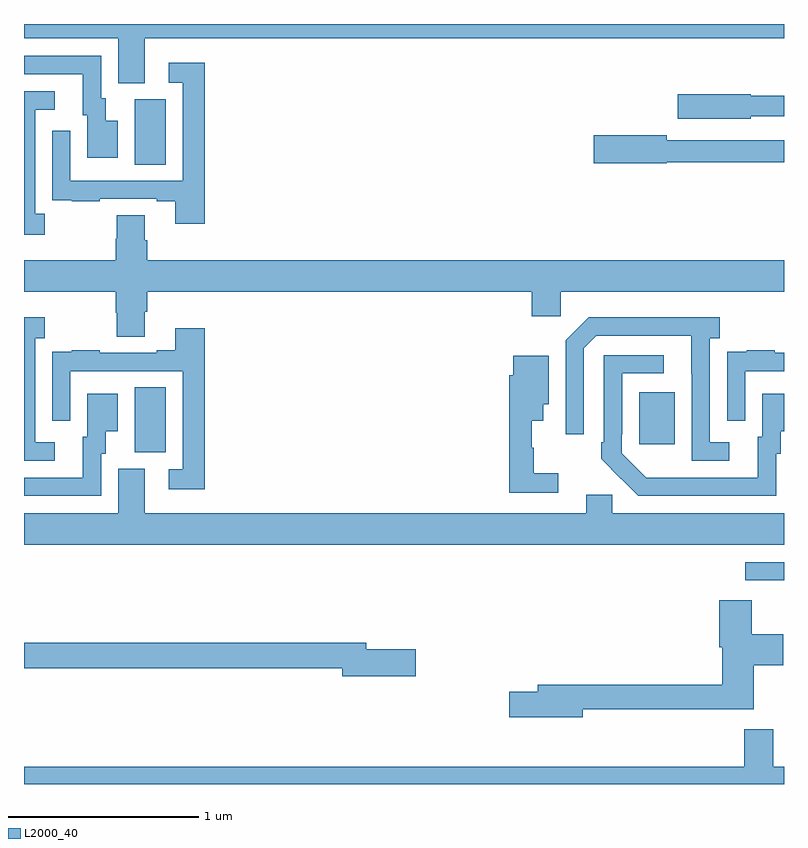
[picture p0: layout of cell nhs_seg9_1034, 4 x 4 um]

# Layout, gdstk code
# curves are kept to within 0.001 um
import gdstk
lib = gdstk.Library(unit=1e-6, precision=1e-09)
def R(c, l, rs):  # rectangles x0, y0, x1, y1
    for r in rs: c.add(gdstk.rectangle(r[:2], r[2:], *l))
def P(c, l, *ps):  # polygons
    for p in ps: c.add(gdstk.Polygon(p, *l))
L2000_40 = (2000, 40)

nhs_seg9_1034 = lib.new_cell('nhs_seg9_1034')
R(nhs_seg9_1034, L2000_40, [(170.796,1189.572,171,1189.668), (167.582,1190.245,167.746,1190.588), (170.237,1190.289,170.425,1190.563), (167.582,1191.76,167.746,1192.104)])
P(nhs_seg9_1034, L2000_40, [(167,1192.424),(167.495,1192.424),(167.495,1192.189),(167.635,1192.189),(167.635,1192.424),(171,1192.424),(171,1192.5),(167,1192.5)],
  [(167.494,1191.991),(167.431,1191.991),(167.431,1192.11),(167.406,1192.11),(167.406,1192.332),(167,1192.332),(167,1192.236),(167.309,1192.236),(167.309,1192.02),(167.333,1192.02),(167.333,1191.795),(167.494,1191.795)],
  [(167.951,1192.297),(167.763,1192.297),(167.763,1192.191),(167.835,1192.191),(167.835,1191.675),(167.244,1191.675),(167.244,1191.937),(167.148,1191.937),(167.148,1191.682),(167.149,1191.682),(167.149,1191.573),(167.251,1191.573),(167.251,1191.567),(167.399,1191.567),(167.399,1191.579),(167.699,1191.579),(167.699,1191.567),(167.795,1191.567),(167.795,1191.45),(167.951,1191.45)],
  [(167.11,1191.502),(167.058,1191.502),(167.058,1192.05),(167.161,1192.05),(167.161,1192.146),(167,1192.146),(167,1191.392),(167.11,1191.392)],
  [(170.826,1192.014),(171,1192.014),(171,1192.123),(170.826,1192.123),(170.826,1192.131),(170.442,1192.131),(170.442,1192.001),(170.826,1192.001)],
  [(170.382,1191.772),(171,1191.772),(171,1191.888),(170.382,1191.888),(170.382,1191.914),(169.998,1191.914),(169.998,1191.767),(170.382,1191.767)],
  [(167.635,1190.986),(167.648,1190.986),(167.648,1191.092),(169.673,1191.092),(169.673,1190.961),(169.824,1190.961),(169.824,1191.092),(171,1191.092),(171,1191.256),(167.648,1191.256),(167.648,1191.362),(167.635,1191.362),(167.635,1191.494),(167.488,1191.494),(167.488,1191.369),(167.483,1191.369),(167.483,1191.256),(167,1191.256),(167,1191.092),(167.483,1191.092),(167.483,1190.979),(167.488,1190.979),(167.488,1190.854),(167.635,1190.854)],
  [(167.161,1190.298),(167.058,1190.298),(167.058,1190.846),(167.11,1190.846),(167.11,1190.956),(167,1190.956),(167,1190.202),(167.161,1190.202)],
  [(170.713,1190.298),(170.61,1190.298),(170.61,1190.846),(170.662,1190.846),(170.662,1190.956),(169.972,1190.956),(169.851,1190.835),(169.851,1190.34),(169.947,1190.34),(169.947,1190.793),(170.013,1190.859),(170.513,1190.859),(170.514,1190.202),(170.713,1190.202)],
  [(167.951,1190.899),(167.795,1190.899),(167.795,1190.782),(167.699,1190.782),(167.699,1190.769),(167.399,1190.769),(167.399,1190.782),(167.251,1190.782),(167.251,1190.775),(167.149,1190.775),(167.149,1190.666),(167.148,1190.666),(167.148,1190.412),(167.244,1190.412),(167.244,1190.673),(167.835,1190.673),(167.835,1190.157),(167.763,1190.157),(167.763,1190.052),(167.951,1190.052)],
  [(170.796,1190.673),(171,1190.673),(171,1190.769),(170.951,1190.769),(170.951,1190.782),(170.803,1190.782),(170.803,1190.775),(170.701,1190.775),(170.701,1190.666),(170.7,1190.666),(170.7,1190.412),(170.796,1190.412)],
  [(170.958,1190.238),(170.983,1190.238),(170.983,1190.357),(171,1190.357),(171,1190.554),(170.885,1190.554),(170.885,1190.328),(170.861,1190.328),(170.861,1190.112),(170.274,1190.113),(170.145,1190.241),(170.145,1190.341),(170.148,1190.341),(170.148,1190.661),(170.368,1190.661),(170.368,1190.757),(170.052,1190.757),(170.052,1190.299),(170.037,1190.299),(170.037,1190.211),(170.234,1190.016),(170.958,1190.016)],
  [(169.813,1190.135),(169.684,1190.135),(169.684,1190.271),(169.673,1190.271),(169.673,1190.411),(169.732,1190.411),(169.732,1190.498),(169.762,1190.498),(169.762,1190.755),(169.574,1190.755),(169.574,1190.651),(169.555,1190.651),(169.555,1190.034),(169.813,1190.034)],
  [(167.406,1190.238),(167.431,1190.238),(167.431,1190.357),(167.494,1190.357),(167.494,1190.554),(167.333,1190.554),(167.333,1190.328),(167.309,1190.328),(167.309,1190.112),(167,1190.112),(167,1190.016),(167.406,1190.016)],
  [(171,1189.924),(170.097,1189.924),(170.097,1190.022),(169.958,1190.022),(169.958,1189.924),(167.635,1189.924),(167.635,1190.16),(167.495,1190.16),(167.495,1189.924),(167,1189.924),(167,1189.76),(171,1189.76)],
  [(169.942,1188.894),(170.842,1188.894),(170.842,1189.126),(170.995,1189.126),(170.995,1189.288),(170.83,1189.288),(170.83,1189.468),(170.66,1189.468),(170.66,1189.219),(170.675,1189.219),(170.675,1189.022),(169.703,1189.022),(169.703,1188.986),(169.554,1188.986),(169.554,1188.851),(169.942,1188.851)],
  [(169.063,1189.208),(168.802,1189.208),(168.802,1189.244),(167,1189.244),(167,1189.108),(168.674,1189.108),(168.674,1189.066),(169.063,1189.066)],
  [(167,1188.5),(171,1188.5),(171,1188.592),(170.944,1188.592),(170.944,1188.787),(170.792,1188.787),(170.792,1188.592),(167,1188.592)])

lib.write_gds('nhs_seg9_1034.gds')
